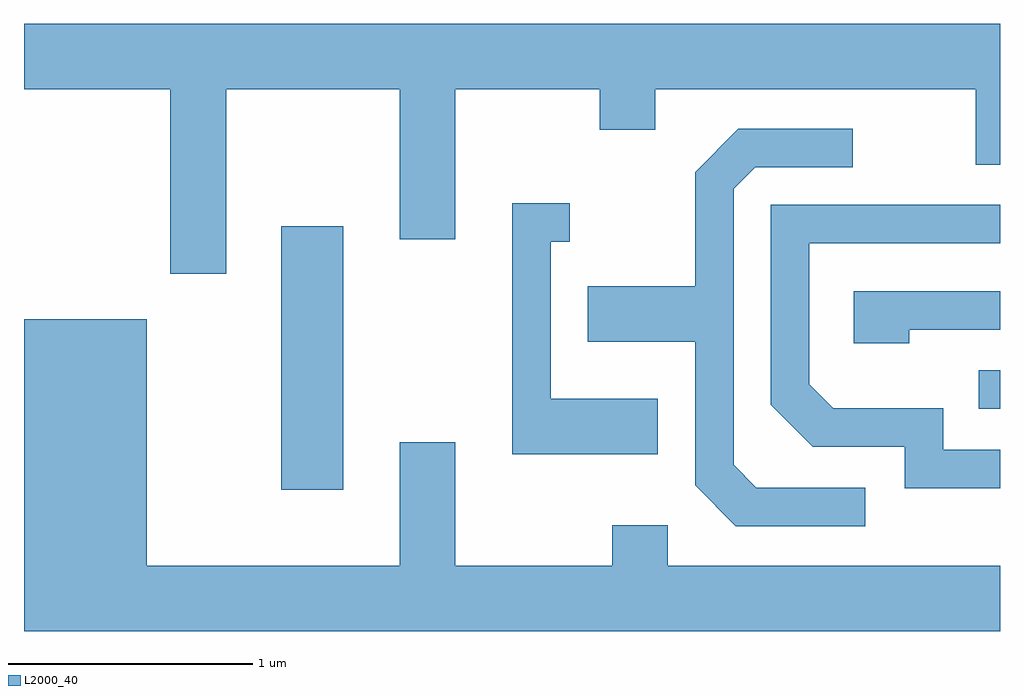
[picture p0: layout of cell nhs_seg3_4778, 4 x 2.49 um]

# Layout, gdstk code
import gdstk
lib = gdstk.Library(unit=1e-6, precision=1e-09)
def R(c, l, rs):  # rectangles x0, y0, x1, y1
    for r in rs: c.add(gdstk.rectangle(r[:2], r[2:], *l))
def P(c, l, *ps):  # polygons
    for p in ps: c.add(gdstk.Polygon(p, *l))
L2000_40 = (2000, 40)

nhs_seg3_4778 = lib.new_cell('nhs_seg3_4778')
R(nhs_seg3_4778, L2000_40, [(326.666,1153.236,326.919,1154.314), (329.523,1153.566,329.611,1153.724)])
P(nhs_seg3_4778, L2000_40, [(326.439,1154.876),(327.151,1154.876),(327.151,1154.261),(327.379,1154.261),(327.379,1154.876),(327.971,1154.876),(327.971,1154.711),(328.199,1154.711),(328.199,1154.876),(329.511,1154.876),(329.511,1154.566),(329.611,1154.566),(329.611,1155.144),(325.611,1155.144),(325.611,1154.876),(326.211,1154.876),(326.211,1154.121),(326.439,1154.121)],
  [(329.058,1153.244),(328.612,1153.244),(328.519,1153.337),(328.519,1154.469),(328.607,1154.556),(329.008,1154.556),(329.008,1154.714),(328.539,1154.714),(328.361,1154.537),(328.361,1154.069),(327.921,1154.069),(327.921,1153.841),(328.361,1153.841),(328.361,1153.254),(328.529,1153.086),(329.058,1153.086)],
  [(328.209,1153.609),(327.769,1153.609),(327.769,1154.251),(327.848,1154.251),(327.848,1154.409),(327.611,1154.409),(327.611,1153.381),(328.209,1153.381)],
  [(329.611,1153.399),(329.379,1153.399),(329.379,1153.569),(328.927,1153.569),(328.829,1153.667),(328.829,1154.246),(329.611,1154.246),(329.611,1154.404),(328.671,1154.404),(328.671,1153.584),(328.844,1153.411),(329.221,1153.411),(329.221,1153.241),(329.611,1153.241)],
  [(329.239,1153.891),(329.611,1153.891),(329.611,1154.049),(329.011,1154.049),(329.011,1153.836),(329.239,1153.836)],
  [(329.611,1152.924),(328.249,1152.924),(328.249,1153.089),(328.021,1153.089),(328.021,1152.924),(327.379,1152.924),(327.379,1153.429),(327.151,1153.429),(327.151,1152.924),(326.114,1152.924),(326.114,1153.934),(325.611,1153.934),(325.611,1152.656),(329.611,1152.656)])

lib.write_gds('nhs_seg3_4778.gds')
